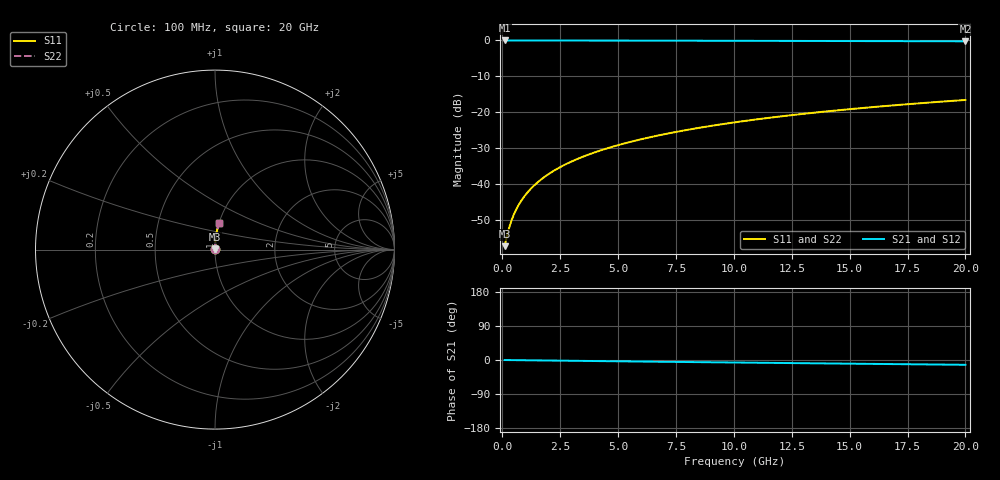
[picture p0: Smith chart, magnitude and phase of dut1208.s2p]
! Touchstone file exported from HFSS 2024.1.0
!  File:  C:/UserFiles/LocalFiles/RDL_TSV_Batchsim/temp_RDL_bottom_1208_1780243578.aedt
!  Generated:  12:08:54 AM Jun  1, 2026
!  Design:  RDL_bottom
!  Project:  temp_RDL_bottom_1208_1780243578
!  Setup:  Setup1
!  Solution:  Sweep
! Variables:
!  dtsv = 10.80580581um
!  hbump = 3um
!  htsv = 76.5um
!  ldown = 147.99um
!  lrdl = 100um
!  p = 40
!  p1 = 43.34um
!  rhole = 1um
!  t = 450um
!  tdown = 3.14um
!  trdl = 3.915915916um
!  wdown = 18.44um
!  wrdl = 20um
# GHz S MA R 50.000000
! Terminal data exported
! Port[1] = RDL1_T1
! Port[2] = RDL1_T2
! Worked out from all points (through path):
!   200 points, 100 MHz to 20 GHz, reference 50 ohm
!   highest |S21| = -0.01 dB at 100 MHz (marker M1); lowest = -0.2 dB at 20 GHz (marker M2)
!   group delay of S21, straight-line fit = 1.75 ps
!   lowest |S11| = -57.4 dB at 100 MHz (marker M3), VSWR 1.00, Z = 50.1 + j0.0735 ohm
!   |S11| at or under -10 dB: start of sweep to end of sweep
!   |S22| runs from -57.4 to -16.6 dB; largest |S21 - S12| = 3.2e-15
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0.1  0.001357 32.7  0.9989 -0.1  0.9989 -0.1  0.001357 32.7
! Gamma 0 0 0 0
! Port Impedance 50 0 50 0
0.2  0.001867 51.2  0.9988 -0.1  0.9988 -0.1  0.001867 51.2
0.3  0.002474 60.8  0.9988 -0.2  0.9988 -0.2  0.002474 60.8
0.4  0.003108 66.4  0.9987 -0.3  0.9987 -0.3  0.003108 66.4
0.5  0.00375 70.1  0.9987 -0.4  0.9987 -0.4  0.00375 70.1
0.6  0.004398 72.8  0.9986 -0.4  0.9986 -0.4  0.004398 72.8
0.8  0.005702 76.5  0.9986 -0.6  0.9986 -0.6  0.005702 76.5
1.1  0.007681 79.9  0.9984 -0.8  0.9984 -0.8  0.007681 79.9
1.3  0.009013 81.3  0.9983 -0.9  0.9983 -0.9  0.009013 81.3
1.6  0.01103 82.9  0.9982 -1.1  0.9982 -1.1  0.01103 82.9
2.1  0.01441 84.6  0.9979 -1.5  0.9979 -1.5  0.01441 84.6
2.7  0.01852 85.8  0.9974 -1.9  0.9974 -1.9  0.01852 85.8
3.5  0.02407 86.8  0.9967 -2.4  0.9967 -2.4  0.02407 86.8
4.2  0.029 87.3  0.996 -2.9  0.996 -2.9  0.029 87.3
5  0.03471 87.6  0.995 -3.4  0.995 -3.4  0.03471 87.6
5.9  0.04122 87.7  0.9938 -4.0  0.9938 -4.0  0.04122 87.7
6.8  0.04783 87.6  0.9926 -4.6  0.9926 -4.6  0.04783 87.6
8.3  0.05902 87.3  0.9904 -5.6  0.9904 -5.6  0.05901 87.3
10.1  0.07264 86.6  0.9876 -6.7  0.9876 -6.7  0.07264 86.6
13.4  0.09786 84.7  0.9826 -8.7  0.9826 -8.7  0.09786 84.7
16.7  0.1231 82.7  0.9775 -10.7  0.9775 -10.7  0.1231 82.7
20  0.148 80.5  0.9723 -12.7  0.9723 -12.7  0.148 80.5
